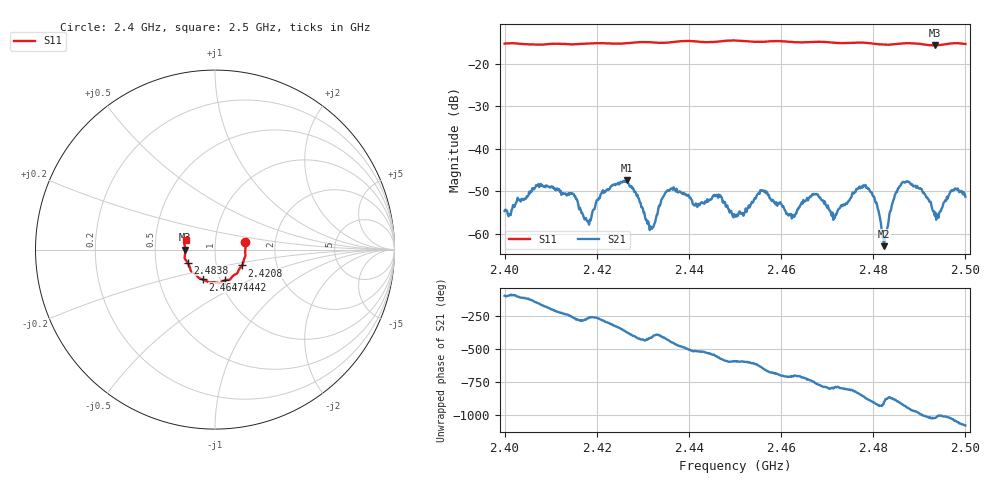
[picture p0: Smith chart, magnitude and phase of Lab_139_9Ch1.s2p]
# Hz S RI R 50
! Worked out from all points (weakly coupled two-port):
!   601 points, 2.4 GHz to 2.5 GHz, reference 50 ohm
!   highest |S21| = -47.43 dB at 2.4265 GHz (marker M1); lowest = -62.9 dB at 2.4823 GHz (marker M2)
!   lowest |S11| = -15.6 dB at 2.4933 GHz (marker M3), VSWR 1.40, Z = 35.8 + j0.029 ohm
!   |S11| at or under -10 dB: start of sweep to end of sweep
!   S12 and S22 are empty: the file has one direction only
!   S11 on the Smith chart (normalised r, x): 2.4 GHz: 1.40, +0.12; 2.4208 GHz: 1.33, -0.24; 2.4442 GHz: 1.05, -0.37; 2.4647 GHz: 0.83, -0.29; 2.4838 GHz: 0.73, -0.11; 2.5 GHz: 0.72, +0.08
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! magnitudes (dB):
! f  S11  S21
! 2.4 GHz  -15.2  -54.6
! 2.4073 GHz  -15.4  -48.3
! 2.4167 GHz  -15.3  -55.1
! 2.4208 GHz  -15.1  -50.7
! 2.4265 GHz  -15.1  -47.4
! 2.4315 GHz  -14.9  -59.2
! 2.4333 GHz  -15.0  -54.3
! 2.4363 GHz  -14.9  -49.3
! 2.4442 GHz  -14.9  -52.5
! 2.45 GHz  -14.5  -55.7
! 2.456 GHz  -14.8  -49.9
! 2.462 GHz  -14.8  -55.6
! 2.4647 GHz  -14.9  -53.0
! 2.4667 GHz  -14.8  -50.9
! 2.4715 GHz  -15.0  -56.0
! 2.4783 GHz  -15.0  -48.5
! 2.4823 GHz  -15.5  -62.9
! 2.4833 GHz  -15.5  -57.1
! 2.4838 GHz  -15.4  -54.6
! 2.4875 GHz  -15.1  -47.8
! 2.4933 GHz  -15.6  -55.8
! 2.5 GHz  -15.3  -51.3
